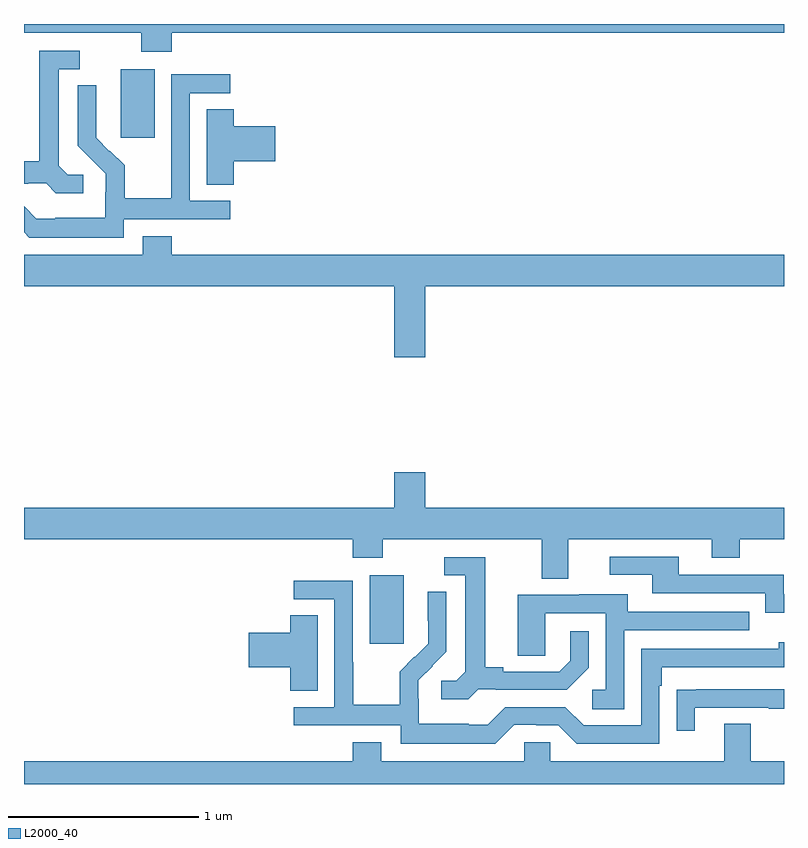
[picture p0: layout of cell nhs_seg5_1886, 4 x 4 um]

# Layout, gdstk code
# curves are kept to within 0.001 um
import gdstk
lib = gdstk.Library(unit=1e-6, precision=1e-09)
def R(c, l, rs):  # rectangles x0, y0, x1, y1
    for r in rs: c.add(gdstk.rectangle(r[:2], r[2:], *l))
def P(c, l, *ps):  # polygons
    for p in ps: c.add(gdstk.Polygon(p, *l))
L2000_40 = (2000, 40)

nhs_seg5_1886 = lib.new_cell('nhs_seg5_1886')
R(nhs_seg5_1886, L2000_40, [(224.819,861.537,224.998,861.898), (223.508,864.201,223.687,864.562)])
P(nhs_seg5_1886, L2000_40, [(223.778,864.752),(227,864.752),(227,864.799),(223,864.799),(223,864.752),(223.618,864.752),(223.618,864.653),(223.778,864.653)],
  [(223.312,864.006),(223.23,864.006),(223.183,864.053),(223.183,864.561),(223.294,864.561),(223.294,864.657),(223.079,864.657),(223.079,864.077),(223,864.077),(223,863.958),(223.022,863.958),(223.022,863.961),(223.116,863.961),(223.168,863.909),(223.312,863.909)],
  [(223.524,863.772),(224.086,863.772),(224.086,863.868),(223.872,863.868),(223.872,864.435),(224.086,864.435),(224.086,864.534),(223.776,864.534),(223.776,864.104),(223.774,864.104),(223.774,863.881),(223.529,863.881),(223.529,864.055),(223.452,864.132),(223.449,864.129),(223.379,864.2),(223.38,864.476),(223.284,864.476),(223.284,864.158),(223.43,864.01),(223.43,863.913),(223.428,863.913),(223.428,863.779),(223.165,863.779),(223.165,863.775),(223.065,863.775),(223,863.84),(223,863.702),(223.027,863.675),(223.524,863.675)],
  [(224.105,864.077),(224.323,864.077),(224.323,864.26),(224.105,864.26),(224.105,864.35),(223.961,864.35),(223.961,863.953),(224.105,863.953)],
  [(225.112,863.42),(227,863.42),(227,863.584),(223.778,863.584),(223.778,863.683),(223.625,863.683),(223.625,863.584),(223,863.584),(223,863.42),(224.948,863.42),(224.948,863.046),(225.112,863.046)],
  [(225.865,862.088),(226.619,862.088),(226.619,861.989),(226.767,861.989),(226.767,862.088),(227,862.088),(227,862.252),(225.112,862.252),(225.112,862.441),(224.948,862.441),(224.948,862.252),(223,862.252),(223,862.088),(224.729,862.088),(224.729,861.989),(224.889,861.989),(224.889,862.088),(225.725,862.088),(225.725,861.88),(225.865,861.88)],
  [(227,861.798),(226.998,861.798),(226.998,861.9),(226.447,861.9),(226.447,861.996),(226.083,861.996),(226.083,861.9),(226.307,861.9),(226.307,861.804),(226.902,861.804),(226.902,861.701),(227,861.701)],
  [(225.39,861.297),(225.484,861.297),(225.484,861.294),(225.856,861.294),(225.972,861.41),(225.972,861.604),(225.875,861.604),(225.875,861.447),(225.818,861.39),(225.523,861.39),(225.523,861.413),(225.427,861.413),(225.427,861.993),(225.213,861.993),(225.213,861.897),(225.323,861.897),(225.323,861.389),(225.276,861.342),(225.195,861.342),(225.195,861.245),(225.338,861.245)],
  [(225.579,861.111),(225.695,861.111),(225.695,861.108),(225.813,861.108),(225.909,861.012),(226.344,861.012),(226.344,861.317),(226.357,861.317),(226.357,861.414),(227,861.414),(227,861.544),(226.973,861.544),(226.973,861.51),(226.248,861.51),(226.248,861.108),(225.945,861.108),(225.849,861.204),(225.534,861.204),(225.441,861.111),(225.341,861.111),(225.341,861.115),(225.078,861.115),(225.078,861.249),(225.076,861.249),(225.076,861.346),(225.222,861.494),(225.222,861.812),(225.126,861.812),(225.126,861.658),(225.128,861.658),(225.128,861.536),(225.057,861.465),(225.054,861.468),(224.977,861.391),(224.977,861.217),(224.733,861.217),(224.733,861.44),(224.73,861.44),(224.73,861.87),(224.421,861.87),(224.421,861.771),(224.634,861.771),(224.634,861.204),(224.421,861.204),(224.421,861.108),(224.982,861.108),(224.982,861.011),(225.479,861.011)],
  [(226.158,861.609),(226.817,861.609),(226.817,861.705),(226.177,861.705),(226.177,861.799),(225.923,861.799),(225.923,861.795),(225.599,861.795),(225.599,861.475),(225.744,861.475),(225.744,861.699),(226.062,861.699),(226.062,861.294),(225.99,861.294),(225.99,861.193),(226.158,861.193)],
  [(224.545,861.686),(224.402,861.686),(224.402,861.596),(224.184,861.596),(224.184,861.413),(224.402,861.413),(224.402,861.289),(224.545,861.289)],
  [(226.531,861.201),(226.921,861.201),(226.921,861.196),(227,861.196),(227,861.297),(226.537,861.297),(226.537,861.296),(226.435,861.296),(226.435,861.078),(226.531,861.078)],
  [(227,860.92),(226.825,860.92),(226.825,861.115),(226.685,861.115),(226.685,860.92),(225.771,860.92),(225.771,861.018),(225.633,861.018),(225.633,860.92),(224.881,860.92),(224.881,861.019),(224.729,861.019),(224.729,860.92),(223,860.92),(223,860.799),(227,860.799)])

lib.write_gds('nhs_seg5_1886.gds')
